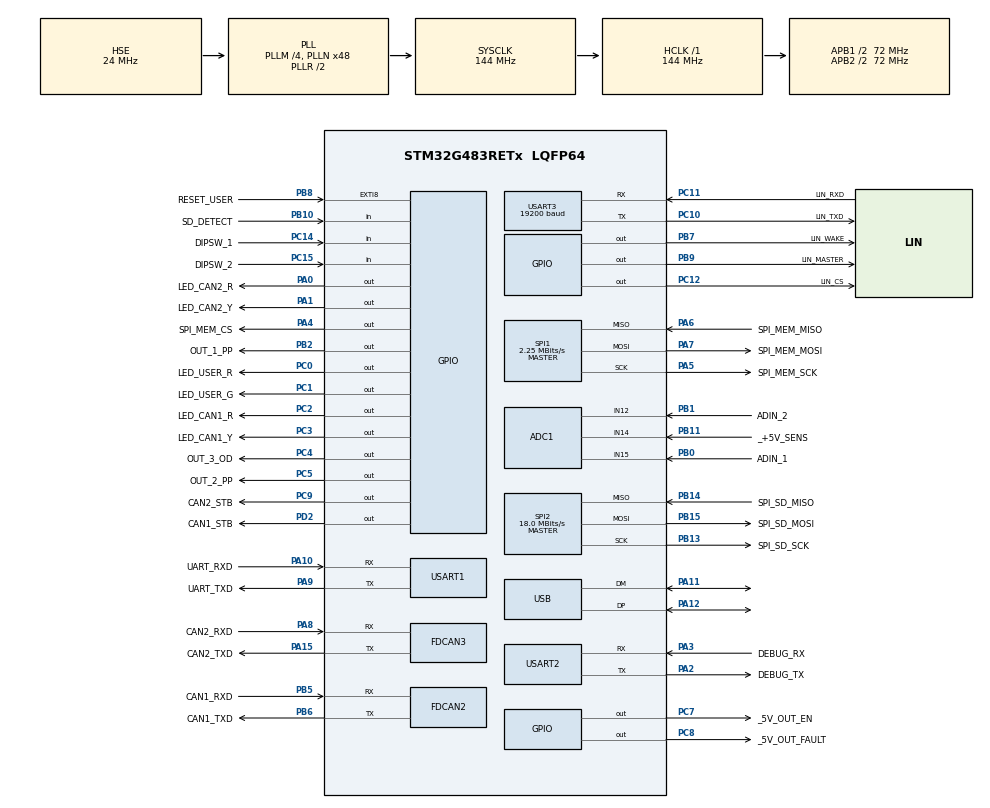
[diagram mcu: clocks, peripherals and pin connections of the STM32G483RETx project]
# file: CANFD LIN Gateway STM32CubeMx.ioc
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ADC1.Channel-1\#ChannelRegularConversion=ADC_CHANNEL_14
ADC1.NbrOfConversionFlag=1
ADC1.OffsetNumber-1\#ChannelRegularConversion=ADC_OFFSET_NONE
ADC1.Rank-1\#ChannelRegularConversion=1
ADC1.SamplingTime-1\#ChannelRegularConversion=ADC_SAMPLETIME_2CYCLES_5
ADC1.master=1
FDCAN2.DataPrescaler=2
FDCAN2.DataSyncJumpWidth=3
FDCAN2.DataTimeSeg1=14
FDCAN2.DataTimeSeg2=3
FDCAN2.FrameFormat=FDCAN_FRAME_FD_BRS
FDCAN2.NominalPrescaler=8
FDCAN2.NominalSyncJumpWidth=3
FDCAN2.NominalTimeSeg1=14
FDCAN2.NominalTimeSeg2=3
FDCAN3.DataPrescaler=2
FDCAN3.DataSyncJumpWidth=3
FDCAN3.DataTimeSeg1=14
FDCAN3.DataTimeSeg2=3
FDCAN3.FrameFormat=FDCAN_FRAME_FD_BRS
FDCAN3.NominalPrescaler=8
FDCAN3.NominalSyncJumpWidth=3
FDCAN3.NominalTimeSeg1=14
FDCAN3.NominalTimeSeg2=3
Mcu.Family=STM32G4
Mcu.Name=STM32G483RETx
Mcu.Package=LQFP64
NVIC.ADC1_2_IRQn=true\:0\:0\:false\:false\:true\:true\:true\:true
NVIC.EXTI9_5_IRQn=true\:0\:0\:false\:false\:true\:true\:true\:true
NVIC.FDCAN2_IT0_IRQn=true\:0\:0\:false\:false\:true\:true\:true\:true
NVIC.FDCAN2_IT1_IRQn=true\:0\:0\:false\:false\:true\:true\:true\:true
NVIC.FDCAN3_IT0_IRQn=true\:0\:0\:false\:false\:true\:true\:true\:true
NVIC.FDCAN3_IT1_IRQn=true\:0\:0\:false\:false\:true\:true\:true\:true
NVIC.PriorityGroup=NVIC_PRIORITYGROUP_4
NVIC.SPI1_IRQn=true\:0\:0\:false\:false\:true\:true\:true\:true
NVIC.TIM6_DAC_IRQn=true\:0\:0\:false\:false\:true\:true\:true\:true
NVIC.TIM7_DAC_IRQn=true\:0\:0\:false\:false\:true\:true\:true\:true
NVIC.USART3_IRQn=true\:0\:0\:false\:false\:true\:true\:true\:true
NVIC.USB_LP_IRQn=true\:0\:0\:false\:false\:true\:false\:true\:true
PA0.GPIO_Label=LED_CAN2_R
PA0.Signal=GPIO_Output
PA1.GPIO_Label=LED_CAN2_Y
PA1.Signal=GPIO_Output
PA10.GPIO_Label=UART_RXD
PA10.GPIO_Speed=GPIO_SPEED_FREQ_MEDIUM
PA10.Mode=Asynchronous
PA10.Signal=USART1_RX
PA11.Mode=Device
PA11.Signal=USB_DM
PA12.Mode=Device
PA12.Signal=USB_DP
PA13.GPIO_Label=SWDIO
PA13.Mode=Trace_Asynchronous_SW
PA13.Signal=SYS_JTMS-SWDIO
PA14.GPIO_Label=SWCLK
PA14.Mode=Trace_Asynchronous_SW
PA14.Signal=SYS_JTCK-SWCLK
PA15.GPIO_Label=CAN2_TXD
PA15.GPIO_Speed=GPIO_SPEED_FREQ_VERY_HIGH
PA15.Mode=FDCAN_Activate
PA15.Signal=FDCAN3_TX
PA2.GPIO_Label=DEBUG_TX
PA2.GPIO_Speed=GPIO_SPEED_FREQ_MEDIUM
PA2.Mode=Asynchronous
PA2.Signal=USART2_TX
PA3.GPIO_Label=DEBUG_RX
PA3.GPIO_Speed=GPIO_SPEED_FREQ_MEDIUM
PA3.Mode=Asynchronous
PA3.Signal=USART2_RX
PA4.GPIO_Label=SPI_MEM_CS
PA4.GPIO_Speed=GPIO_SPEED_FREQ_VERY_HIGH
PA4.PinState=GPIO_PIN_SET
PA4.Signal=GPIO_Output
PA5.GPIO_Label=SPI_MEM_SCK
PA5.GPIO_Speed=GPIO_SPEED_FREQ_MEDIUM
PA5.Mode=Full_Duplex_Master
PA5.Signal=SPI1_SCK
PA6.GPIO_Label=SPI_MEM_MISO
PA6.GPIO_Speed=GPIO_SPEED_FREQ_MEDIUM
PA6.Mode=Full_Duplex_Master
PA6.Signal=SPI1_MISO
PA7.GPIO_Label=SPI_MEM_MOSI
PA7.GPIO_Speed=GPIO_SPEED_FREQ_MEDIUM
PA7.Mode=Full_Duplex_Master
PA7.Signal=SPI1_MOSI
PA8.GPIO_Label=CAN2_RXD
PA8.GPIO_Speed=GPIO_SPEED_FREQ_VERY_HIGH
PA8.Mode=FDCAN_Activate
PA8.Signal=FDCAN3_RX
PA9.GPIO_Label=UART_TXD
PA9.GPIO_Speed=GPIO_SPEED_FREQ_MEDIUM
PA9.Mode=Asynchronous
PA9.Signal=USART1_TX
PB0.GPIO_Label=ADIN_1
PB0.Mode=IN15-Single-Ended
PB0.Signal=ADC1_IN15
PB1.GPIO_Label=ADIN_2
PB1.Mode=IN12-Single-Ended
PB1.Signal=ADC1_IN12
PB10.GPIO_Label=SD_DETECT
PB10.Signal=GPIO_Input
PB11.GPIO_Label=_+5V_SENS
PB11.Mode=IN14-Single-Ended
PB11.Signal=ADC1_IN14
PB12.GPIO_Label=SPI_SD_CS
PB12.GPIO_Speed=GPIO_SPEED_FREQ_HIGH
PB12.Signal=SPI2_NSS
PB13.GPIO_Label=SPI_SD_SCK
PB13.GPIO_Speed=GPIO_SPEED_FREQ_HIGH
PB13.Mode=Full_Duplex_Master
PB13.Signal=SPI2_SCK
PB14.GPIO_Label=SPI_SD_MISO
PB14.GPIO_Speed=GPIO_SPEED_FREQ_HIGH
PB14.Mode=Full_Duplex_Master
PB14.Signal=SPI2_MISO
PB15.GPIO_Label=SPI_SD_MOSI
PB15.GPIO_Speed=GPIO_SPEED_FREQ_HIGH
PB15.Mode=Full_Duplex_Master
PB15.Signal=SPI2_MOSI
PB2.GPIO_Label=OUT_1_PP
PB2.Signal=GPIO_Output
PB3.GPIO_Label=SWO
PB3.Mode=Trace_Asynchronous_SW
PB3.Signal=SYS_JTDO-SWO
PB5.GPIO_Label=CAN1_RXD
PB5.GPIO_Speed=GPIO_SPEED_FREQ_VERY_HIGH
PB5.Mode=FDCAN_Activate
PB5.Signal=FDCAN2_RX
PB6.GPIO_Label=CAN1_TXD
PB6.GPIO_Speed=GPIO_SPEED_FREQ_VERY_HIGH
PB6.Mode=FDCAN_Activate
PB6.Signal=FDCAN2_TX
PB7.GPIO_Label=LIN_WAKE
PB7.Signal=GPIO_Output
PB8-BOOT0.GPIO_Label=RESET_USER
PB8-BOOT0.Signal=GPXTI8
PB9.GPIO_Label=LIN_MASTER
PB9.GPIO_PuPd=GPIO_PULLUP
PB9.Signal=GPIO_Output
PC0.GPIO_Label=LED_USER_R
PC0.Signal=GPIO_Output
PC1.GPIO_Label=LED_USER_G
PC1.Signal=GPIO_Output
PC10.GPIO_Label=LIN_TXD
PC10.GPIO_Speed=GPIO_SPEED_FREQ_MEDIUM
PC10.Mode=LIN
PC10.Signal=USART3_TX
PC11.GPIO_Label=LIN_RXD
PC11.GPIO_Speed=GPIO_SPEED_FREQ_MEDIUM
PC11.Mode=LIN
PC11.Signal=USART3_RX
PC12.GPIO_Label=LIN_CS
PC12.Signal=GPIO_Output
PC14-OSC32_IN.GPIO_Label=DIPSW_1
PC14-OSC32_IN.Signal=GPIO_Input
PC15-OSC32_OUT.GPIO_Label=DIPSW_2
PC15-OSC32_OUT.Signal=GPIO_Input
PC2.GPIO_Label=LED_CAN1_R
PC2.Signal=GPIO_Output
PC3.GPIO_Label=LED_CAN1_Y
PC3.Signal=GPIO_Output
PC4.GPIO_Label=OUT_3_OD
PC4.GPIO_ModeDefaultOutputPP=GPIO_MODE_OUTPUT_OD
PC4.Signal=GPIO_Output
PC5.GPIO_Label=OUT_2_PP
PC5.Signal=GPIO_Output
PC7.GPIO_Label=_5V_OUT_EN
PC7.Signal=GPIO_Output
PC8.GPIO_Label=_5V_OUT_FAULT
PC8.Signal=GPIO_Output
PC9.GPIO_Label=CAN2_STB
PC9.PinState=GPIO_PIN_SET
PC9.Signal=GPIO_Output
PD2.GPIO_Label=CAN1_STB
PD2.PinState=GPIO_PIN_SET
PD2.Signal=GPIO_Output
PF0-OSC_IN.Mode=HSE-External-Oscillator
PF0-OSC_IN.Signal=RCC_OSC_IN
PF1-OSC_OUT.Mode=HSE-External-Oscillator
PF1-OSC_OUT.Signal=RCC_OSC_OUT
ProjectManager.HeapSize=0x200
ProjectManager.StackSize=0x400
ProjectManager.TargetToolchain=STM32CubeIDE
RCC.ADC12Freq_Value=144000000
RCC.ADC345Freq_Value=144000000
RCC.AHBFreq_Value=144000000
RCC.APB1CLKDivider=RCC_HCLK_DIV2
RCC.APB1Freq_Value=72000000
RCC.APB1TimFreq_Value=144000000
RCC.APB2CLKDivider=RCC_HCLK_DIV2
RCC.APB2Freq_Value=72000000
RCC.APB2TimFreq_Value=144000000
RCC.CortexFreq_Value=144000000
RCC.EXTERNAL_CLOCK_VALUE=12288000
RCC.HCLKFreq_Value=144000000
RCC.HSE_VALUE=24000000
RCC.HSI48_VALUE=48000000
RCC.HSI_VALUE=16000000
RCC.LSE_VALUE=32768
RCC.PLLM=RCC_PLLM_DIV4
RCC.PLLN=48
RCC.PLLQ=RCC_PLLQ_DIV6
RCC.PLLSourceVirtual=RCC_PLLSOURCE_HSE
RCC.SYSCLKFreq_VALUE=144000000
RCC.SYSCLKSource=RCC_SYSCLKSOURCE_PLLCLK
RCC.USBFreq_Value=48000000
RCC.VCOOutputFreq_Value=288000000
SPI1.BaudRatePrescaler=SPI_BAUDRATEPRESCALER_32
SPI1.CalculateBaudRate=2.25 MBits/s
SPI1.DataSize=SPI_DATASIZE_8BIT
SPI1.Direction=SPI_DIRECTION_2LINES
SPI1.Mode=SPI_MODE_MASTER
SPI1.NSSPMode=SPI_NSS_PULSE_DISABLE
SPI1.VirtualType=VM_MASTER
SPI2.BaudRatePrescaler=SPI_BAUDRATEPRESCALER_4
SPI2.CLKPhase=SPI_PHASE_2EDGE
SPI2.CLKPolarity=SPI_POLARITY_HIGH
SPI2.CalculateBaudRate=18.0 MBits/s
SPI2.DataSize=SPI_DATASIZE_8BIT
SPI2.Direction=SPI_DIRECTION_2LINES
SPI2.Mode=SPI_MODE_MASTER
SPI2.VirtualNSS=VM_NSSHARD
SPI2.VirtualType=VM_MASTER
TIM6.PeriodNoDither=999
TIM6.Prescaler=143
TIM6.TIM_MasterOutputTrigger=TIM_TRGO_ENABLE
USART1.VirtualMode-Asynchronous=VM_ASYNC
USART2.VirtualMode-Asynchronous=VM_ASYNC
USART3.BaudRate=19200
USART3.DMADisableonRxErrorParam=ADVFEATURE_DMA_DISABLEONRXERROR
USART3.OverrunDisableParam=ADVFEATURE_OVERRUN_DISABLE
USART3.VirtualMode-LIN=VM_LIN
USB_DEVICE.CLASS_NAME_FS=CDC
USB_DEVICE.VirtualMode=Cdc
USB_DEVICE.VirtualModeFS=Cdc_FS
VP_FATFS_VS_Generic.Mode=User_defined
VP_SYS_VS_DBSignals.Mode=DisableDeadBatterySignals
VP_TIM6_VS_ClockSourceINT.Mode=Enable_Timer
VP_TIM7_VS_ClockSourceINT.Mode=Enable_Timer
VP_USB_DEVICE_VS_USB_DEVICE_CDC_FS.Mode=CDC_FS
board=custom

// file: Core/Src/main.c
/* USER CODE BEGIN Header */
/**
  ******************************************************************************
  * @file           : main.c
  * @brief          : CANFD LIN Gateway Example
  ******************************************************************************
  * @attention
  *
  * Product: CANFD LIN Gateway
  * Product Number: CANFD-LIN-GW
  *
  * Company: MACH SYSTEMS s.r.o.
  * Company Web: www.machsystems.cz
  *
  * Product Description:
  * - Two high-speed CAN channels with CAN FD support
  * - LIN channel
  * - RS-232 port
  * - MicroSD card slot
  * - 4 digital outputs
  * - 2 analogue/digital inputs
  * - 4 status LEDs
  * - On-board 16 Kbit EEPROM
  * - Externally or USB-powered
  * - Table-top use or DIN-rail mount
  *
  * MCU: STM32G483RE
  * IDE: STM32CubeIDE v1.9.0
  * HAL: STM32CubeG4 Firmware Package V1.5.0
  *
  *
  * Connector pinout of the CANFD LIN Gateway device:
  * =========================
  * D-SUB9 Male:  Pin 1    - Digital Output 1 (HSD)
  *               Pin 2    - CAN1 Low
  *               Pin 3, 5 - GND
  *               Pin 4    - LIN
  *               Pin 6    - Analog input 1 (0 - 5 V)
  *               Pin 7    - CAN1 High
  *               Pin 8    - Digital Output 2 (5 V push-pull)
  *               Pin 9    - Vin / Vbat (7 - 30 V DC)
  *
  * D-SUB9 Female: Pin 1    - Digital Output 3 (5 V push-pull)
  *                Pin 2    - CAN2 Low
  *                Pin 3, 5 - GND
  *                Pin 4    - RS232 RxD (in)
  *                Pin 6    - Digital Output 4 (LSD-Open drain)
  *                Pin 7    - CAN2 High
  *                Pin 8    - RS232 TxD (out)
  *                Pin 9    - Analog Input 2 (0 - 5 V)
  *
  *
  * Description of the example:
  * ===========================
  * SD Card:
  *   If you want to test SD card access, uncomment the line with
  * #define TEST_SDCARD. If you do this, program will try to create
  * new file on the card and write some text to it. Then, it will try
  * to read back the written data and check if it is correct.
  *
  * CAN-FD:
  *   Default setting for CAN is 500k, 2M, SP = 80 %.
  *   After pressing the button BTN 1, CAN message is sent on both
  * CAN1 and CAN2. First data byte is number of sent message, second
  * and third have state of dip switches as LSB. Fourth+fifth and sixth+seventh
  * data bytes are voltages (in millivolts) measured on AI1 and AI2 respectively.
  * Furthemore, data received on CAN are sent to the other CAN channel.
  *   If you want CAN FD data baud rate 8 Mbps, you must change FDCAN clock to
  * 144 MHz and change time segments accordingly.
  * Ratio of data bit rate to nominal bit rate should not exceed 8, or
  * sometimes error frames can be sent.
  *
  * LIN:
  *   In LIN Scheduler, there are 2 frames:
  * ID 0x01 - Master Response
  *         - 3 data bytes
  *         - LSB of bytes 0, 1, 2 contain respectively state of
  *           button, dip 1 and dip 2
  *
  * ID 0x02 - Master Request
  *         - 2 data bytes
  *         - LSB of byte 0: toggle LED1, LSB of byte 1: toggle LED2
  *           - 0x01 turn on
  *           - 0x00 turn off
  *
  * Bootloader:
  *   CAN frame with extended frame ID 0x1fffffff and first four data bytes 0x00
  * 0x01 0x02 0x03 (on CAN1 or CAN2) will reset the device to bootloader. If you
  * then connect USB cable or one of UARTs, you can upload new firmware to the
  * device. See manual for more info.
  *
  * Virtual COM Port:
  *   You can connect to the COM port via USB cable. When CAN frame is received,
  * some info about it is sent to the COM port. There is ID, on which channel it
  * was received, number of data bytes and the data. Also, data received on the
  * COM port are sent to debug UART. For its settings, see below.
  *
  * EEPROM:
  *   Program tries to write the whole EEPROM (2 KiB) with data and then read it
  * back. It checks if the read data is correct. Then, the whole EEPROM is erased,
  * again read back and checked that it contains 0xFF. Uncomment EEPROM_TESTING
  * for activating this example.
  *
  * RS-232:
  *   Received data are sent back. Uncomment TEST_UART for this example.
  * Settings are: 115200, 8 B, 1 stop bit, no parity.
  *
  * Debug UART:
  *   Data received on Virtual COM port are sent to debug UART. Settings are:
  * 115200, 8 B, 1 stop bit, no parity.
  *
  * Digital Inputs:
  *   There are three digital inputs, one button and two dip switches. For reading
  * their value, see CAN section above.
  *
  * Analog Inputs:
  *   There are two analog inputs that can thanks measure 0 to 5 V. For reading their
  * value, see CAN section above.
  *
  * Outputs:
  *   There are four outputs, one HSD (DO1), two 5 V push-pulls (DO2 and DO3) and one open
  * drain (DO4). You can use them freely but please make sure you do NOT your loads do not draw
  * too high current from 5 V power branch especially.
  * DO NOT use DO1, DO2, DO3 when the device is only powered from USB!!!
  * There are macros defined in main.h (in section Digital outputs)
  * for controlling them, but they are not used in this example.
  *
  * Also, there are three LEDs, macros for using them are in main.h in sections
  * User LED controls and CAN LED control.
  *
  *
  *
  * Mapping of peripherals to their names:
  * ======================================
  * CAN1: FDCAN2 peripheral
  * CAN2: FDCAN3 peripheral
  *
  * ADIN1: IN15 of ADC1
  * ADIN2: IN12 of ADC1
  *
  * RS232:      UART1
  * DEBUG UART: UART2
  * LIN:        UART3
  *
  * <h2><center>&copy; Copyright (c) 2020 STMicroelectronics.
  * All rights reserved.</center></h2>
  *
  * This software component is licensed by ST under BSD 3-Clause license,
  * the "License"; You may not use this file except in compliance with the
  * License. You may obtain a copy of the License at:
  *                        opensource.org/licenses/BSD-3-Clause
  *
  *
  *
  ******************************************************************************
  */
/* USER CODE END Header */
#include "main.h"
#include "app_fatfs.h"
#include "usb_device.h"

/* USER CODE BEGIN Includes */
#include "usbd_cdc_if.h"
#include "commonUtils.h"
#include "spiEeprom.h"

#include "lin.h"
/* USER CODE END Includes */

/* USER CODE BEGIN PD */
#define CAN_MAX_DATALEN       64

//#define EEPROM_TESTING
#define LIN_EXAMPLE
//#define TEST_SDCARD
//#define TEST_UART     /* Blocking RS-232 example */

#define LIN_TICKS_PER_SECOND  1000
#define LIN_TICKS_WAIT        10
#define USB_BUFFER_SIZE       512

#define ADC_CONVERSION        (3.3 / 4095)    /* 3.3 V reference 12-bit ADC */
#define DIVIDER               (50.0 / 30)     /* R1 = 20 000 ohm, R2 = 50 000 ohm  */

#define LIN_TX_DATA_SIZE      3
/* USER CODE END PD */

 ADC_HandleTypeDef hadc1;

FDCAN_HandleTypeDef hfdcan2;
FDCAN_HandleTypeDef hfdcan3;

SPI_HandleTypeDef hspi2;

TIM_HandleTypeDef htim6;

UART_HandleTypeDef huart1;
UART_HandleTypeDef huart2;

/* USER CODE BEGIN PV */
//uint8_t ubKeyNumber = 0x0;
FDCAN_RxHeaderTypeDef RxHeader;
uint8_t RxData[CAN_MAX_DATALEN];
FDCAN_TxHeaderTypeDef TxHeader;
uint8_t TxData[CAN_MAX_DATALEN];
uint8_t canFramesSent = 0;

/* FATFs process status */
int32_t ProcessStatus = 0;

uint16_t gTimerCnt = 0;
uint16_t gPeriodCnt = 0;

/* String to send via uart */
uint8_t aTextInfoStart[] = "\r\nUART Debug Example: Received data will be sent back:\r\n";

/* From usb_device.c */
extern USBD_HandleTypeDef hUsbDeviceFS;

/* ADC buffer and state */
uint8_t adcState = 0;
uint32_t adcValues[2];

/* Request to go to bootloader */
uint8_t BootloaderRequest = 0;

/* LIN variables */
uint8_t linTxData[LIN_TX_DATA_SIZE] = {0, 0, 0};
LIN_Frame* pLinRxFrame;
/* USER CODE END PV */

void SystemClock_Config(void);
static void MX_GPIO_Init(void);
static void MX_FDCAN2_Init(void);
static void MX_SPI1_Init(void);
static void MX_USART2_UART_Init(void);
static void MX_USART3_UART_Init(void);
static void MX_ADC1_Init(void);
static void MX_FDCAN3_Init(void);
static void MX_SPI2_Init(void);
static void MX_USART1_UART_Init(void);
static void MX_TIM6_Init(void);
static void MX_TIM7_Init(void);
/* USER CODE BEGIN PFP */
void jumpToBootloader(void);
void initCanTxData(void);
void initAdc(void);
/* USER CODE END PFP */

int main(void)
{

  /* MCU Configuration--------------------------------------------------------*/

  /* Reset of all peripherals, Initializes the Flash interface and the Systick. */
  HAL_Init();

  /* Configure the system clock */
  SystemClock_Config();

  /* Initialize all configured peripherals */
  MX_GPIO_Init();
  MX_FDCAN2_Init();
  MX_SPI1_Init();
  MX_USART2_UART_Init();
  MX_USART3_UART_Init();
  MX_ADC1_Init();
  MX_FDCAN3_Init();
  MX_SPI2_Init();
  MX_USART1_UART_Init();
  if (MX_FATFS_Init() != APP_OK) {
    Error_Handler();
  }
  MX_TIM6_Init();
  MX_USB_Device_Init();
  MX_TIM7_Init();
  /* USER CODE BEGIN 2 */
  initCanTxData();

  PIN_CAN1_STDBY_ON();
  PIN_CAN2_STDBY_ON();
  /* Initialize the micro SD Card */
  BSP_SD_Init(0);
  /* Configure the FDCAN peripherals */
  FdcanConfig(&hfdcan2);
  FdcanConfig(&hfdcan3);
  HAL_TIM_Base_Start_IT(&htim6);
  initAdc();
  /* USER CODE END 2 */

  /* Infinite loop */
  /* USER CODE BEGIN WHILE */
#ifdef LIN_EXAMPLE
  /* Wake up the LIN transceiver */
  HAL_GPIO_WritePin(LIN_CS_GPIO_Port, LIN_CS_Pin, 1);
  HAL_GPIO_WritePin(LIN_WAKE_GPIO_Port, LIN_WAKE_Pin, 0);

  InitLin();

  /* Try to find the Master Request frame with ID 0x2 (for toggling the LEDs) */
  pLinRxFrame = FindRxFrame(2);
#endif /* LIN_EXAMPLE */

  /*
   * Configuration of SPI1 peripheral for EEPROM access
   */
  /* enable error interrupt */
  LL_SPI_EnableIT_ERR(SPI1);

  /* RXNE event after 8 bits */
  LL_SPI_SetRxFIFOThreshold(SPI1, LL_SPI_RX_FIFO_TH_QUARTER);

  /* enable RXNE interrupt */
  LL_SPI_EnableIT_RXNE(SPI1);

  LL_SPI_Enable(SPI1);

#ifdef EEPROM_TESTING
  TestEepromAccess();
#endif /* EEPROM_TESTING */

  FdcanReconfigureBaudrate(&hfdcan2, CAN_NBT_500K, CAN_DBT_2M);

#ifdef TEST_UART
  /* Do not send ending '\0' */
  HAL_UART_Transmit(&huart1, aTextInfoStart, sizeof(aTextInfoStart) - 1, HAL_MAX_DELAY);
#endif /* TEST_UART */

  while (1)
  {
    if (BootloaderRequest)
      jumpToBootloader();

#ifdef TEST_UART
    /* Uart testing - send back what is received, byte after byte */
    uint8_t receive;
    HAL_UART_Receive(&huart1, &receive, 1, HAL_MAX_DELAY);
    HAL_UART_Transmit(&huart1, &receive, 1, HAL_MAX_DELAY);
#endif /* TEST_UART */

#ifdef TEST_SDCARD
    /* FatFs middleware main background task */
    ProcessStatus = MX_FATFS_Process();

    if (ProcessStatus == APP_SD_UNPLUGGED)
    {
      LED_G_OFF();
      LED_R_TOGGLE();
    }
    else if (ProcessStatus == APP_ERROR)
    {
      Error_Handler();
    }
    else
    {
      LED_R_OFF();
      LED_G_ON();
    }
    HAL_Delay(1000);
#endif /* TEST_SDCARD */

#ifdef LIN_EXAMPLE
    /* Toggle LEDs according to data bytes */
    /* (if the frame was found) */
    if (pLinRxFrame != NULL)
    {
      /* LED 1 */
      if (pLinRxFrame->Data[0] & 0x1)
        LED_G_ON();
      else
        LED_G_OFF();

      /* LED 2 */
      if (pLinRxFrame->Data[1] & 0x1)
        LED_CAN2_Y_ON();
      else
        LED_CAN2_Y_OFF();
    }

    /* Btn active in one (changed from earlier HW) */
    if (RESET_USER_READ())
      linTxData[0] |= 1;
    else
      linTxData[0] &= 0;

    /* Dip switches active in zero */
    if (!DIPSW1_READ())
      linTxData[1] |= 1;
    else
      linTxData[1] &= 0;

    if (!DIPSW2_READ())
      linTxData[2] |= 1;
    else
      linTxData[2] &= 0;

    UpdateTxFrameData(1, linTxData, LIN_TX_DATA_SIZE);
#endif /* LIN_EXAMPLE */

    /* USER CODE END WHILE */

  }
}

void SystemClock_Config(void)
{
  RCC_OscInitTypeDef RCC_OscInitStruct = {0};
  RCC_ClkInitTypeDef RCC_ClkInitStruct = {0};

  /** Configure the main internal regulator output voltage
  */
  HAL_PWREx_ControlVoltageScaling(PWR_REGULATOR_VOLTAGE_SCALE1);

  /** Initializes the RCC Oscillators according to the specified parameters
  * in the RCC_OscInitTypeDef structure.
  */
  RCC_OscInitStruct.OscillatorType = RCC_OSCILLATORTYPE_HSE;
  RCC_OscInitStruct.HSEState = RCC_HSE_ON;
  RCC_OscInitStruct.PLL.PLLState = RCC_PLL_ON;
  RCC_OscInitStruct.PLL.PLLSource = RCC_PLLSOURCE_HSE;
  RCC_OscInitStruct.PLL.PLLM = RCC_PLLM_DIV4;
  RCC_OscInitStruct.PLL.PLLN = 48;
  RCC_OscInitStruct.PLL.PLLP = RCC_PLLP_DIV2;
  RCC_OscInitStruct.PLL.PLLQ = RCC_PLLQ_DIV6;
  RCC_OscInitStruct.PLL.PLLR = RCC_PLLR_DIV2;
  if (HAL_RCC_OscConfig(&RCC_OscInitStruct) != HAL_OK)
  {
    Error_Handler();
  }

  /** Initializes the CPU, AHB and APB buses clocks
  */
  RCC_ClkInitStruct.ClockType = RCC_CLOCKTYPE_HCLK|RCC_CLOCKTYPE_SYSCLK
                              |RCC_CLOCKTYPE_PCLK1|RCC_CLOCKTYPE_PCLK2;
  RCC_ClkInitStruct.SYSCLKSource = RCC_SYSCLKSOURCE_PLLCLK;
  RCC_ClkInitStruct.AHBCLKDivider = RCC_SYSCLK_DIV1;
  RCC_ClkInitStruct.APB1CLKDivider = RCC_HCLK_DIV2;
  RCC_ClkInitStruct.APB2CLKDivider = RCC_HCLK_DIV2;

  if (HAL_RCC_ClockConfig(&RCC_ClkInitStruct, FLASH_LATENCY_4) != HAL_OK)
  {
    Error_Handler();
  }
}

static void MX_ADC1_Init(void)
{

  ADC_MultiModeTypeDef multimode = {0};
  ADC_ChannelConfTypeDef sConfig = {0};

  /** Common config
  */
  hadc1.Instance = ADC1;
  hadc1.Init.ClockPrescaler = ADC_CLOCK_SYNC_PCLK_DIV4;
  hadc1.Init.Resolution = ADC_RESOLUTION_12B;
  hadc1.Init.DataAlign = ADC_DATAALIGN_RIGHT;
  hadc1.Init.GainCompensation = 0;
  hadc1.Init.ScanConvMode = ADC_SCAN_DISABLE;
  hadc1.Init.EOCSelection = ADC_EOC_SINGLE_CONV;
  hadc1.Init.LowPowerAutoWait = DISABLE;
  hadc1.Init.ContinuousConvMode = DISABLE;
  hadc1.Init.NbrOfConversion = 1;
  hadc1.Init.DiscontinuousConvMode = DISABLE;
  hadc1.Init.ExternalTrigConv = ADC_SOFTWARE_START;
  hadc1.Init.ExternalTrigConvEdge = ADC_EXTERNALTRIGCONVEDGE_NONE;
  hadc1.Init.DMAContinuousRequests = DISABLE;
  hadc1.Init.Overrun = ADC_OVR_DATA_PRESERVED;
  hadc1.Init.OversamplingMode = DISABLE;
  if (HAL_ADC_Init(&hadc1) != HAL_OK)
  {
    Error_Handler();
  }

  /** Configure the ADC multi-mode
  */
  multimode.Mode = ADC_MODE_INDEPENDENT;
  if (HAL_ADCEx_MultiModeConfigChannel(&hadc1, &multimode) != HAL_OK)
  {
    Error_Handler();
  }

  /** Configure Regular Channel
  */
  sConfig.Channel = ADC_CHANNEL_14;
  sConfig.Rank = ADC_REGULAR_RANK_1;
  sConfig.SamplingTime = ADC_SAMPLETIME_2CYCLES_5;
  sConfig.SingleDiff = ADC_SINGLE_ENDED;
  sConfig.OffsetNumber = ADC_OFFSET_NONE;
  sConfig.Offset = 0;
  if (HAL_ADC_ConfigChannel(&hadc1, &sConfig) != HAL_OK)
  {
    Error_Handler();
  }

}

static void MX_FDCAN2_Init(void)
{

  hfdcan2.Instance = FDCAN2;
  hfdcan2.Init.ClockDivider = FDCAN_CLOCK_DIV1;
  hfdcan2.Init.FrameFormat = FDCAN_FRAME_FD_BRS;
  hfdcan2.Init.Mode = FDCAN_MODE_NORMAL;
  hfdcan2.Init.AutoRetransmission = DISABLE;
  hfdcan2.Init.TransmitPause = DISABLE;
  hfdcan2.Init.ProtocolException = DISABLE;
  hfdcan2.Init.NominalPrescaler = 8;
  hfdcan2.Init.NominalSyncJumpWidth = 3;
  hfdcan2.Init.NominalTimeSeg1 = 14;
  hfdcan2.Init.NominalTimeSeg2 = 3;
  hfdcan2.Init.DataPrescaler = 2;
  hfdcan2.Init.DataSyncJumpWidth = 3;
  hfdcan2.Init.DataTimeSeg1 = 14;
  hfdcan2.Init.DataTimeSeg2 = 3;
  hfdcan2.Init.StdFiltersNbr = 0;
  hfdcan2.Init.ExtFiltersNbr = 0;
  hfdcan2.Init.TxFifoQueueMode = FDCAN_TX_FIFO_OPERATION;
  if (HAL_FDCAN_Init(&hfdcan2) != HAL_OK)
  {
    Error_Handler();
  }

}

static void MX_FDCAN3_Init(void)
{

  hfdcan3.Instance = FDCAN3;
  hfdcan3.Init.ClockDivider = FDCAN_CLOCK_DIV1;
  hfdcan3.Init.FrameFormat = FDCAN_FRAME_FD_BRS;
  hfdcan3.Init.Mode = FDCAN_MODE_NORMAL;
  hfdcan3.Init.AutoRetransmission = DISABLE;
  hfdcan3.Init.TransmitPause = DISABLE;
  hfdcan3.Init.ProtocolException = DISABLE;
  hfdcan3.Init.NominalPrescaler = 8;
  hfdcan3.Init.NominalSyncJumpWidth = 3;
  hfdcan3.Init.NominalTimeSeg1 = 14;
  hfdcan3.Init.NominalTimeSeg2 = 3;
  hfdcan3.Init.DataPrescaler = 2;
  hfdcan3.Init.DataSyncJumpWidth = 3;
  hfdcan3.Init.DataTimeSeg1 = 14;
  hfdcan3.Init.DataTimeSeg2 = 3;
  hfdcan3.Init.StdFiltersNbr = 0;
  hfdcan3.Init.ExtFiltersNbr = 0;
  hfdcan3.Init.TxFifoQueueMode = FDCAN_TX_FIFO_OPERATION;
  if (HAL_FDCAN_Init(&hfdcan3) != HAL_OK)
  {
    Error_Handler();
  }

}

static void MX_SPI1_Init(void)
{

  LL_SPI_InitTypeDef SPI_InitStruct = {0};

  LL_GPIO_InitTypeDef GPIO_InitStruct = {0};

  /* Peripheral clock enable */
  LL_APB2_GRP1_EnableClock(LL_APB2_GRP1_PERIPH_SPI1);

  LL_AHB2_GRP1_EnableClock(LL_AHB2_GRP1_PERIPH_GPIOA);
  /**SPI1 GPIO Configuration
  PA5   ------> SPI1_SCK
  PA6   ------> SPI1_MISO
  PA7   ------> SPI1_MOSI
  */
  GPIO_InitStruct.Pin = LL_GPIO_PIN_5;
  GPIO_InitStruct.Mode = LL_GPIO_MODE_ALTERNATE;
  GPIO_InitStruct.Speed = LL_GPIO_SPEED_FREQ_MEDIUM;
  GPIO_InitStruct.OutputType = LL_GPIO_OUTPUT_PUSHPULL;
  GPIO_InitStruct.Pull = LL_GPIO_PULL_NO;
  GPIO_InitStruct.Alternate = LL_GPIO_AF_5;
  LL_GPIO_Init(GPIOA, &GPIO_InitStruct);

  GPIO_InitStruct.Pin = LL_GPIO_PIN_6;
  GPIO_InitStruct.Mode = LL_GPIO_MODE_ALTERNATE;
  GPIO_InitStruct.Speed = LL_GPIO_SPEED_FREQ_MEDIUM;
  GPIO_InitStruct.OutputType = LL_GPIO_OUTPUT_PUSHPULL;
  GPIO_InitStruct.Pull = LL_GPIO_PULL_NO;
  GPIO_InitStruct.Alternate = LL_GPIO_AF_5;
  LL_GPIO_Init(GPIOA, &GPIO_InitStruct);

  GPIO_InitStruct.Pin = LL_GPIO_PIN_7;
  GPIO_InitStruct.Mode = LL_GPIO_MODE_ALTERNATE;
  GPIO_InitStruct.Speed = LL_GPIO_SPEED_FREQ_MEDIUM;
  GPIO_InitStruct.OutputType = LL_GPIO_OUTPUT_PUSHPULL;
  GPIO_InitStruct.Pull = LL_GPIO_PULL_NO;
  GPIO_InitStruct.Alternate = LL_GPIO_AF_5;
  LL_GPIO_Init(GPIOA, &GPIO_InitStruct);

  /* SPI1 interrupt Init */
  NVIC_SetPriority(SPI1_IRQn, NVIC_EncodePriority(NVIC_GetPriorityGrouping(),0, 0));
  NVIC_EnableIRQ(SPI1_IRQn);

  /* SPI1 parameter configuration*/
  SPI_InitStruct.TransferDirection = LL_SPI_FULL_DUPLEX;
  SPI_InitStruct.Mode = LL_SPI_MODE_MASTER;
  SPI_InitStruct.DataWidth = LL_SPI_DATAWIDTH_8BIT;
  SPI_InitStruct.ClockPolarity = LL_SPI_POLARITY_LOW;
  SPI_InitStruct.ClockPhase = LL_SPI_PHASE_1EDGE;
  SPI_InitStruct.NSS = LL_SPI_NSS_SOFT;
  SPI_InitStruct.BaudRate = LL_SPI_BAUDRATEPRESCALER_DIV32;
  SPI_InitStruct.BitOrder = LL_SPI_MSB_FIRST;
  SPI_InitStruct.CRCCalculation = LL_SPI_CRCCALCULATION_DISABLE;
  SPI_InitStruct.CRCPoly = 7;
  LL_SPI_Init(SPI1, &SPI_InitStruct);
  LL_SPI_SetStandard(SPI1, LL_SPI_PROTOCOL_MOTOROLA);
  LL_SPI_DisableNSSPulseMgt(SPI1);

}

static void MX_SPI2_Init(void)
{

  /* SPI2 parameter configuration*/
  hspi2.Instance = SPI2;
  hspi2.Init.Mode = SPI_MODE_MASTER;
  hspi2.Init.Direction = SPI_DIRECTION_2LINES;
  hspi2.Init.DataSize = SPI_DATASIZE_8BIT;
  hspi2.Init.CLKPolarity = SPI_POLARITY_HIGH;
  hspi2.Init.CLKPhase = SPI_PHASE_2EDGE;
  hspi2.Init.NSS = SPI_NSS_SOFT;
  hspi2.Init.BaudRatePrescaler = SPI_BAUDRATEPRESCALER_4;
  hspi2.Init.FirstBit = SPI_FIRSTBIT_MSB;
  hspi2.Init.TIMode = SPI_TIMODE_DISABLE;
  hspi2.Init.CRCCalculation = SPI_CRCCALCULATION_DISABLE;
  hspi2.Init.CRCPolynomial = 7;
  hspi2.Init.CRCLength = SPI_CRC_LENGTH_DATASIZE;
  hspi2.Init.NSSPMode = SPI_NSS_PULSE_DISABLE;
  if (HAL_SPI_Init(&hspi2) != HAL_OK)
  {
    Error_Handler();
  }

}

static void MX_TIM6_Init(void)
{

  TIM_MasterConfigTypeDef sMasterConfig = {0};

  htim6.Instance = TIM6;
  htim6.Init.Prescaler = 143;
  htim6.Init.CounterMode = TIM_COUNTERMODE_UP;
  htim6.Init.Period = 999;
  htim6.Init.AutoReloadPreload = TIM_AUTORELOAD_PRELOAD_DISABLE;
  if (HAL_TIM_Base_Init(&htim6) != HAL_OK)
  {
    Error_Handler();
  }
  sMasterConfig.MasterOutputTrigger = TIM_TRGO_ENABLE;
  sMasterConfig.MasterSlaveMode = TIM_MASTERSLAVEMODE_DISABLE;
  if (HAL_TIMEx_MasterConfigSynchronization(&htim6, &sMasterConfig) != HAL_OK)
  {
    Error_Handler();
  }

}

static void MX_TIM7_Init(void)
{

  /* USER CODE BEGIN TIM7_Init 0 */
  /* Timer 7 will actually be setup in the user code (TIMER7_init); it is
   * because the LIN baudrate */
  /* USER CODE END TIM7_Init 0 */

  LL_TIM_InitTypeDef TIM_InitStruct = {0};

  /* Peripheral clock enable */
  LL_APB1_GRP1_EnableClock(LL_APB1_GRP1_PERIPH_TIM7);

  /* TIM7 interrupt Init */
  NVIC_SetPriority(TIM7_DAC_IRQn, NVIC_EncodePriority(NVIC_GetPriorityGrouping(),0, 0));
  NVIC_EnableIRQ(TIM7_DAC_IRQn);

  TIM_InitStruct.Prescaler = 0;
  TIM_InitStruct.CounterMode = LL_TIM_COUNTERMODE_UP;
  TIM_InitStruct.Autoreload = 65535;
  LL_TIM_Init(TIM7, &TIM_InitStruct);
  LL_TIM_DisableARRPreload(TIM7);
  LL_TIM_SetTriggerOutput(TIM7, LL_TIM_TRGO_RESET);
  LL_TIM_DisableMasterSlaveMode(TIM7);

}

static void MX_USART1_UART_Init(void)
{

  huart1.Instance = USART1;
  huart1.Init.BaudRate = 115200;
  huart1.Init.WordLength = UART_WORDLENGTH_8B;
  huart1.Init.StopBits = UART_STOPBITS_1;
  huart1.Init.Parity = UART_PARITY_NONE;
  huart1.Init.Mode = UART_MODE_TX_RX;
  huart1.Init.HwFlowCtl = UART_HWCONTROL_NONE;
  huart1.Init.OverSampling = UART_OVERSAMPLING_16;
  huart1.Init.OneBitSampling = UART_ONE_BIT_SAMPLE_DISABLE;
  huart1.Init.ClockPrescaler = UART_PRESCALER_DIV1;
  huart1.AdvancedInit.AdvFeatureInit = UART_ADVFEATURE_NO_INIT;
  if (HAL_UART_Init(&huart1) != HAL_OK)
  {
    Error_Handler();
  }
  if (HAL_UARTEx_SetTxFifoThreshold(&huart1, UART_TXFIFO_THRESHOLD_1_8) != HAL_OK)
  {
    Error_Handler();
  }
  if (HAL_UARTEx_SetRxFifoThreshold(&huart1, UART_RXFIFO_THRESHOLD_1_8) != HAL_OK)
  {
    Error_Handler();
  }
  if (HAL_UARTEx_DisableFifoMode(&huart1) != HAL_OK)
  {
    Error_Handler();
  }

}

static void MX_USART2_UART_Init(void)
{

  huart2.Instance = USART2;
  huart2.Init.BaudRate = 115200;
  huart2.Init.WordLength = UART_WORDLENGTH_8B;
  huart2.Init.StopBits = UART_STOPBITS_1;
  huart2.Init.Parity = UART_PARITY_NONE;
  huart2.Init.Mode = UART_MODE_TX_RX;
  huart2.Init.HwFlowCtl = UART_HWCONTROL_NONE;
  huart2.Init.OverSampling = UART_OVERSAMPLING_16;
  huart2.Init.OneBitSampling = UART_ONE_BIT_SAMPLE_DISABLE;
  huart2.Init.ClockPrescaler = UART_PRESCALER_DIV1;
  huart2.AdvancedInit.AdvFeatureInit = UART_ADVFEATURE_NO_INIT;
  if (HAL_UART_Init(&huart2) != HAL_OK)
  {
    Error_Handler();
  }
  if (HAL_UARTEx_SetTxFifoThreshold(&huart2, UART_TXFIFO_THRESHOLD_1_8) != HAL_OK)
  {
    Error_Handler();
  }
  if (HAL_UARTEx_SetRxFifoThreshold(&huart2, UART_RXFIFO_THRESHOLD_1_8) != HAL_OK)
  {
    Error_Handler();
  }
  if (HAL_UARTEx_DisableFifoMode(&huart2) != HAL_OK)
  {
    Error_Handler();
  }

}

static void MX_USART3_UART_Init(void)
{

  LL_USART_InitTypeDef USART_InitStruct = {0};

  LL_GPIO_InitTypeDef GPIO_InitStruct = {0};
  RCC_PeriphCLKInitTypeDef PeriphClkInit = {0};

  /** Initializes the peripherals clocks
  */
  PeriphClkInit.PeriphClockSelection = RCC_PERIPHCLK_USART3;
  PeriphClkInit.Usart3ClockSelection = RCC_USART3CLKSOURCE_PCLK1;
  if (HAL_RCCEx_PeriphCLKConfig(&PeriphClkInit) != HAL_OK)
  {
    Error_Handler();
  }

  /* Peripheral clock enable */
  LL_APB1_GRP1_EnableClock(LL_APB1_GRP1_PERIPH_USART3);

  LL_AHB2_GRP1_EnableClock(LL_AHB2_GRP1_PERIPH_GPIOC);
  /**USART3 GPIO Configuration
  PC10   ------> USART3_TX
  PC11   ------> USART3_RX
  */
  GPIO_InitStruct.Pin = LL_GPIO_PIN_10;
  GPIO_InitStruct.Mode = LL_GPIO_MODE_ALTERNATE;
  GPIO_InitStruct.Speed = LL_GPIO_SPEED_FREQ_MEDIUM;
  GPIO_InitStruct.OutputType = LL_GPIO_OUTPUT_PUSHPULL;
  GPIO_InitStruct.Pull = LL_GPIO_PULL_NO;
  GPIO_InitStruct.Alternate = LL_GPIO_AF_7;
  LL_GPIO_Init(GPIOC, &GPIO_InitStruct);

  GPIO_InitStruct.Pin = LL_GPIO_PIN_11;
  GPIO_InitStruct.Mode = LL_GPIO_MODE_ALTERNATE;
  GPIO_InitStruct.Speed = LL_GPIO_SPEED_FREQ_MEDIUM;
  GPIO_InitStruct.OutputType = LL_GPIO_OUTPUT_PUSHPULL;
  GPIO_InitStruct.Pull = LL_GPIO_PULL_NO;
  GPIO_InitStruct.Alternate = LL_GPIO_AF_7;
  LL_GPIO_Init(GPIOC, &GPIO_InitStruct);

  /* USART3 interrupt Init */
  NVIC_SetPriority(USART3_IRQn, NVIC_EncodePriority(NVIC_GetPriorityGrouping(),0, 0));
  NVIC_EnableIRQ(USART3_IRQn);

  USART_InitStruct.PrescalerValue = LL_USART_PRESCALER_DIV1;
  USART_InitStruct.BaudRate = 19200;
  USART_InitStruct.DataWidth = LL_USART_DATAWIDTH_8B;
  USART_InitStruct.StopBits = LL_USART_STOPBITS_1;
  USART_InitStruct.Parity = LL_USART_PARITY_NONE;
  USART_InitStruct.TransferDirection = LL_USART_DIRECTION_TX_RX;
  USART_InitStruct.OverSampling = LL_USART_OVERSAMPLING_16;
  LL_USART_Init(USART3, &USART_InitStruct);
  LL_USART_SetTXFIFOThreshold(USART3, LL_USART_FIFOTHRESHOLD_1_8);
  LL_USART_SetRXFIFOThreshold(USART3, LL_USART_FIFOTHRESHOLD_1_8);
  LL_USART_DisableFIFO(USART3);
  LL_USART_SetLINBrkDetectionLen(USART3, LL_USART_LINBREAK_DETECT_10B);
  LL_USART_DisableOverrunDetect(USART3);
  LL_USART_DisableDMADeactOnRxErr(USART3);
  LL_USART_ConfigLINMode(USART3);

  LL_USART_Enable(USART3);

  /* Polling USART3 initialisation */
  while((!(LL_USART_IsActiveFlag_TEACK(USART3))) || (!(LL_USART_IsActiveFlag_REACK(USART3))))
  {
  }

}

static void MX_GPIO_Init(void)
{
  GPIO_InitTypeDef GPIO_InitStruct = {0};

  /* GPIO Ports Clock Enable */
  __HAL_RCC_GPIOC_CLK_ENABLE();
  __HAL_RCC_GPIOF_CLK_ENABLE();
  __HAL_RCC_GPIOA_CLK_ENABLE();
  __HAL_RCC_GPIOB_CLK_ENABLE();
  __HAL_RCC_GPIOD_CLK_ENABLE();

  /*Configure GPIO pin Output Level */
  HAL_GPIO_WritePin(GPIOC, LED_USER_R_Pin|LED_USER_G_Pin|LED_CAN1_R_Pin|LED_CAN1_Y_Pin
                          |OUT_3_OD_Pin|OUT_2_PP_Pin|_5V_OUT_EN_Pin|_5V_OUT_FAULT_Pin
                          |LIN_CS_Pin, GPIO_PIN_RESET);

  /*Configure GPIO pin Output Level */
  HAL_GPIO_WritePin(GPIOA, LED_CAN2_R_Pin|LED_CAN2_Y_Pin, GPIO_PIN_RESET);

  /*Configure GPIO pin Output Level */
  HAL_GPIO_WritePin(SPI_MEM_CS_GPIO_Port, SPI_MEM_CS_Pin, GPIO_PIN_SET);

  /*Configure GPIO pin Output Level */
  HAL_GPIO_WritePin(GPIOB, OUT_1_PP_Pin|LIN_WAKE_Pin|LIN_MASTER_Pin, GPIO_PIN_RESET);

  /*Configure GPIO pin Output Level */
  HAL_GPIO_WritePin(CAN2_STB_GPIO_Port, CAN2_STB_Pin, GPIO_PIN_SET);

  /*Configure GPIO pin Output Level */
  HAL_GPIO_WritePin(CAN1_STB_GPIO_Port, CAN1_STB_Pin, GPIO_PIN_SET);

  /*Configure GPIO pins : DIPSW_1_Pin DIPSW_2_Pin */
  GPIO_InitStruct.Pin = DIPSW_1_Pin|DIPSW_2_Pin;
  GPIO_InitStruct.Mode = GPIO_MODE_INPUT;
  GPIO_InitStruct.Pull = GPIO_NOPULL;
  HAL_GPIO_Init(GPIOC, &GPIO_InitStruct);

  /*Configure GPIO pins : LED_USER_R_Pin LED_USER_G_Pin LED_CAN1_R_Pin LED_CAN1_Y_Pin
                           OUT_2_PP_Pin _5V_OUT_EN_Pin _5V_OUT_FAULT_Pin CAN2_STB_Pin
                           LIN_CS_Pin */
  GPIO_InitStruct.Pin = LED_USER_R_Pin|LED_USER_G_Pin|LED_CAN1_R_Pin|LED_CAN1_Y_Pin
                          |OUT_2_PP_Pin|_5V_OUT_EN_Pin|_5V_OUT_FAULT_Pin|CAN2_STB_Pin
                          |LIN_CS_Pin;
  GPIO_InitStruct.Mode = GPIO_MODE_OUTPUT_PP;
  GPIO_InitStruct.Pull = GPIO_NOPULL;
  GPIO_InitStruct.Speed = GPIO_SPEED_FREQ_LOW;
  HAL_GPIO_Init(GPIOC, &GPIO_InitStruct);

  /*Configure GPIO pins : LED_CAN2_R_Pin LED_CAN2_Y_Pin */
  GPIO_InitStruct.Pin = LED_CAN2_R_Pin|LED_CAN2_Y_Pin;
  GPIO_InitStruct.Mode = GPIO_MODE_OUTPUT_PP;
  GPIO_InitStruct.Pull = GPIO_NOPULL;
  GPIO_InitStruct.Speed = GPIO_SPEED_FREQ_LOW;
  HAL_GPIO_Init(GPIOA, &GPIO_InitStruct);

  /*Configure GPIO pin : SPI_MEM_CS_Pin */
  GPIO_InitStruct.Pin = SPI_MEM_CS_Pin;
  GPIO_InitStruct.Mode = GPIO_MODE_OUTPUT_PP;
  GPIO_InitStruct.Pull = GPIO_NOPULL;
  GPIO_InitStruct.Speed = GPIO_SPEED_FREQ_VERY_HIGH;
  HAL_GPIO_Init(SPI_MEM_CS_GPIO_Port, &GPIO_InitStruct);

  /*Configure GPIO pin : OUT_3_OD_Pin */
  GPIO_InitStruct.Pin = OUT_3_OD_Pin;
  GPIO_InitStruct.Mode = GPIO_MODE_OUTPUT_OD;
  GPIO_InitStruct.Pull = GPIO_NOPULL;
  GPIO_InitStruct.Speed = GPIO_SPEED_FREQ_LOW;
  HAL_GPIO_Init(OUT_3_OD_GPIO_Port, &GPIO_InitStruct);

  /*Configure GPIO pins : OUT_1_PP_Pin LIN_WAKE_Pin */
  GPIO_InitStruct.Pin = OUT_1_PP_Pin|LIN_WAKE_Pin;
  GPIO_InitStruct.Mode = GPIO_MODE_OUTPUT_PP;
  GPIO_InitStruct.Pull = GPIO_NOPULL;
  GPIO_InitStruct.Speed = GPIO_SPEED_FREQ_LOW;
  HAL_GPIO_Init(GPIOB, &GPIO_InitStruct);

  /*Configure GPIO pin : SD_DETECT_Pin */
  GPIO_InitStruct.Pin = SD_DETECT_Pin;
  GPIO_InitStruct.Mode = GPIO_MODE_INPUT;
  GPIO_InitStruct.Pull = GPIO_NOPULL;
  HAL_GPIO_Init(SD_DETECT_GPIO_Port, &GPIO_InitStruct);

  /*Configure GPIO pin : CAN1_STB_Pin */
  GPIO_InitStruct.Pin = CAN1_STB_Pin;
  GPIO_InitStruct.Mode = GPIO_MODE_OUTPUT_PP;
  GPIO_InitStruct.Pull = GPIO_NOPULL;
  GPIO_InitStruct.Speed = GPIO_SPEED_FREQ_LOW;
  HAL_GPIO_Init(CAN1_STB_GPIO_Port, &GPIO_InitStruct);

  /*Configure GPIO pin : RESET_USER_Pin */
  GPIO_InitStruct.Pin = RESET_USER_Pin;
  GPIO_InitStruct.Mode = GPIO_MODE_IT_RISING;
  GPIO_InitStruct.Pull = GPIO_NOPULL;
  HAL_GPIO_Init(RESET_USER_GPIO_Port, &GPIO_InitStruct);

  /*Configure GPIO pin : LIN_MASTER_Pin */
  GPIO_InitStruct.Pin = LIN_MASTER_Pin;
  GPIO_InitStruct.Mode = GPIO_MODE_OUTPUT_PP;
  GPIO_InitStruct.Pull = GPIO_PULLUP;
  GPIO_InitStruct.Speed = GPIO_SPEED_FREQ_LOW;
  HAL_GPIO_Init(LIN_MASTER_GPIO_Port, &GPIO_InitStruct);

  /* EXTI interrupt init*/
  HAL_NVIC_SetPriority(EXTI9_5_IRQn, 0, 0);
  HAL_NVIC_EnableIRQ(EXTI9_5_IRQn);

}

/* USER CODE BEGIN 4 */
/*
 * General purpose 1 ms timer callback
 */
void HAL_TIM_PeriodElapsedCallback(TIM_HandleTypeDef *htim)
{
  if (htim == &htim6)
  {
    gTimerCnt++;
    if (gTimerCnt == 10)
    {
      HAL_ADC_Start_IT(&hadc1);
      gTimerCnt = 0;
    }

    /* LIN scheduler timer tick */
    SchedulerTimerCallback();
  }
}

/*
 * ADC conversion complete callback
 */

void HAL_ADC_ConvCpltCallback(ADC_HandleTypeDef *hadc)
{
  double val = HAL_ADC_GetValue(hadc);
  val = (val * ADC_CONVERSION) * DIVIDER;
  val *= 1000; /* To millivolts */
  ADC_ChannelConfTypeDef sConfig = {0};

  sConfig.Rank = ADC_REGULAR_RANK_1;
  sConfig.SamplingTime = ADC_SAMPLETIME_2CYCLES_5;
  sConfig.SingleDiff = ADC_SINGLE_ENDED;
  sConfig.OffsetNumber = ADC_OFFSET_NONE;
  sConfig.Offset = 0;

  switch (adcState)
  {
    case 0:
      adcValues[0] = val;
      sConfig.Channel = ADC_CHANNEL_12;
      adcState++;
      break;

    case 1:
    default:
      adcValues[1] = val;
      sConfig.Channel = ADC_CHANNEL_15;
      adcState = 0;
      break;
  }
  HAL_ADC_ConfigChannel(&hadc1, &sConfig);
  HAL_ADC_Stop_IT(&hadc1);
}

/**
  * @brief  Rx FIFO 0 callback.
  * @param  hfdcan: pointer to an FDCAN_HandleTypeDef structure that contains
  *         the configuration information for the specified FDCAN.
  * @param  RxFifo0ITs: indicates which Rx FIFO 0 interrupts are signalled.
  *         This parameter can be any combination of @arg FDCAN_Rx_Fifo0_Interrupts.
  * @retval None
  */
void HAL_FDCAN_RxFifo0Callback(FDCAN_HandleTypeDef *hfdcan, uint32_t RxFifo0ITs)
{
  if((RxFifo0ITs & FDCAN_IT_RX_FIFO0_NEW_MESSAGE) != RESET)
  {
    /* Retrieve Rx messages from RX FIFO0 */
    if (HAL_FDCAN_GetRxMessage(hfdcan, FDCAN_RX_FIFO0, &RxHeader, RxData) != HAL_OK)
    {
      Error_Handler();
    }
    uint8_t datalen = DatalenToInt(RxHeader.DataLength);

    /* It is strongly suggested to keep the possibility to jump to System Booloader from application */
    if (RxHeader.Identifier == 0x1fffffff && datalen == 4 && RxData[0] == 0 && RxData[1] == 1 && RxData[2] == 2 && RxData[3] == 3)
    {
      /* Cannot go to bootloader directly from ISR */
      BootloaderRequest = 1;
      return;
    }

    /* Send the information about received CAN frame to the virtual COM port */
    char usbSendBuffer[USB_BUFFER_SIZE];
    uint8_t dataWritten = 0;
    dataWritten += snprintf(usbSendBuffer + dataWritten, USB_BUFFER_SIZE, "ID: %lx, ", RxHeader.Identifier);
    char* chan = (hfdcan == &hfdcan2) ? "CAN1" : "CAN2";
    dataWritten += snprintf(usbSendBuffer + dataWritten, USB_BUFFER_SIZE, "channel: %s, ", chan);
    dataWritten += snprintf(usbSendBuffer + dataWritten, USB_BUFFER_SIZE, "datalen: %d, ", datalen);
    dataWritten += snprintf(usbSendBuffer + dataWritten, USB_BUFFER_SIZE, "data: ");
    for (uint8_t i = 0; i < datalen; i++)
    {
      dataWritten += snprintf(usbSendBuffer + dataWritten, USB_BUFFER_SIZE, "%x", RxData[i]);
      if (i != datalen - 1)
        dataWritten += snprintf(usbSendBuffer + dataWritten, USB_BUFFER_SIZE, ", ");
    }
    dataWritten += snprintf(usbSendBuffer + dataWritten, USB_BUFFER_SIZE, "\r\n");
    CDC_Transmit_FS((uint8_t*) usbSendBuffer, dataWritten);

    /* Respond back with the same data and header */
    FDCAN_HandleTypeDef sendCan = (hfdcan == &hfdcan2) ? hfdcan3 : hfdcan2;

    if (HAL_FDCAN_AddMessageToTxFifoQ(&sendCan, (FDCAN_TxHeaderTypeDef*) &RxHeader, RxData) != HAL_OK)
      Error_Handler();

//    /* Display LEDx */
//    if ((RxHeader.Identifier == 0x321) && (RxHeader.IdType == FDCAN_STANDARD_ID) && (RxHeader.DataLength == FDCAN_DLC_BYTES_2))
//    {
//      LED_Display(RxData[0]);
//      ubKeyNumber = RxData[0];
//    }
  }

}

/*
 * Error callback from HAL - reset the peripheral
 */
void HAL_FDCAN_ErrorCallback(FDCAN_HandleTypeDef *hfdcan)
{
  DeviceCANErrorHandler(hfdcan);
}

/*
 * Error callback from HAL - reset the peripheral
 */
void HAL_FDCAN_ErrorStatusCallback(FDCAN_HandleTypeDef *hfdcan, uint32_t ErrorStatusITs)
{
  DeviceCANErrorHandler(hfdcan);
}

/*
 * Initialize the data and header that will be sent to CAN
 */
void initCanTxData(void)
{
  /* Prepare Tx Header */
  TxHeader.Identifier = 0x321;
  TxHeader.IdType = FDCAN_STANDARD_ID;
  TxHeader.TxFrameType = FDCAN_DATA_FRAME;
  TxHeader.DataLength = FDCAN_DLC_BYTES_3;
  TxHeader.ErrorStateIndicator = FDCAN_ESI_ACTIVE;
  TxHeader.BitRateSwitch = FDCAN_BRS_OFF;
  TxHeader.FDFormat = FDCAN_CLASSIC_CAN;
  /* Next two lines would make the frame FD CAN with BRS on */
  /*TxHeader.BitRateSwitch = FDCAN_BRS_ON;
  TxHeader.FDFormat = FDCAN_FD_CAN;*/
  TxHeader.TxEventFifoControl = FDCAN_NO_TX_EVENTS;
  TxHeader.MessageMarker = 0;

  for (uint8_t i = 0; i < CAN_MAX_DATALEN; i++)
    TxData[i] = i;
}

void initAdc(void)
{
  ADC_ChannelConfTypeDef sConfig = {0};
  sConfig.Channel = ADC_CHANNEL_15;
  sConfig.Rank = ADC_REGULAR_RANK_1;
  sConfig.SamplingTime = ADC_SAMPLETIME_2CYCLES_5;
  sConfig.SingleDiff = ADC_SINGLE_ENDED;
  sConfig.OffsetNumber = ADC_OFFSET_NONE;
  sConfig.Offset = 0;
  HAL_ADC_ConfigChannel(&hadc1, &sConfig);
  HAL_ADC_Start_IT(&hadc1);
}

/*
 * Called from interrupt when some data from USB is received
 */
void UsbDataReceived(uint8_t* pBuffer, uint16_t size)
{
  /* Send the received data right back */
  //CDC_Transmit_FS(pBuffer, size);

  /* Send the data to the debug UART */
  HAL_UART_Transmit(&huart2, pBuffer, size, HAL_MAX_DELAY);
}

/**
 * Function to perform jump to system memory boot from user application.
 *
 * Call function when you want to jump to system memory.
 * Inspired by example code from:
 *     https://stm32f4-discovery.net/2017/04/tutorial-jump-system-memory-software-stm32/
 */
void jumpToBootloader(void)
{
    void (*SysMemBootJump)(void);

    __disable_irq();
    /* Reset all configured peripherals */
    HAL_DeInit();
    // deconfigure the usb
    //USBD_DeInit(&hUsbDeviceFS);
    /* System clock frequency 72 MHz - PLL clocked by HSI */
    HAL_RCC_DeInit();

    /* USB must be clocked by HSI48 @ 48 MHz */
    RCC_PeriphCLKInitTypeDef PeriphClkInit = {0};
    PeriphClkInit.PeriphClockSelection = RCC_PERIPHCLK_USB;
    PeriphClkInit.UsbClockSelection = RCC_USBCLKSOURCE_HSI48;
    HAL_RCCEx_PeriphCLKConfig(&PeriphClkInit);

    /**
     * Step: Set system memory address.
     *
     *       For STM32G4, system memory is on 0x1FFF 0000
     */
    volatile uint32_t addr = 0x1FFF0000;

    /**
     * Step: Disable RCC, set it to default (after reset) settings
     *       Internal clock, no PLL, etc.
     */
    HAL_RCC_DeInit();

    /**
     * Step: Disable systick timer and reset it to default values
     */
    SysTick->CTRL = 0;
    SysTick->LOAD = 0;
    SysTick->VAL = 0;

    /* ARM Cortex-M Programming Guide to Memory Barrier Instructions.*/
    __DSB();

    /**
     * Step: Remap system memory to address 0x0000 0000 in address space
     * Call HAL macro to do this
     */
    __HAL_SYSCFG_REMAPMEMORY_SYSTEMFLASH();

    /* Remap is not visible at once. Execute some unrelated command! */
    __DSB();
    __ISB();

    /* Clear Interrupt Enable Register & Interrupt Pending Register */
    for (int i = 0; i < 5; i++)
    {
      NVIC->ICER[i]=0xFFFFFFFF;
      NVIC->ICPR[i]=0xFFFFFFFF;
    }

    SCB->VTOR = 0;                /* Set vector table offset to 0 */

    /* Re-enable all interrupts */
    /* Cannot leave interrupts disabled - no one would enable them */
    __enable_irq();

    /**
     * Step: Set jump memory location for system memory
     *       Use address with 4 bytes offset which specifies jump location where program starts
     */
    SysMemBootJump = (void (*)(void)) (*((uint32_t *)(addr + 4)));

    /**
     * Step: Set main stack pointer.
     *       This step must be done last otherwise local variables in this function
     *       don't have proper value since stack pointer is located on different position
     *
     *       Set direct address location which specifies stack pointer in SRAM location
     */
    __set_MSP(*(__IO uint32_t *)addr);

    /**
     * Step: Actually call our function to jump to set location
     *       This will start system memory execution
     */
    SysMemBootJump();

    /* Now we are in bootloader */
}

/*
 * SPI1 callback for EEPROM access
 */
void SpiInterruptCallback(void)
{
  EepromSpiCallback();
}

/*
 * External interrupt callback - user button was pressed.
 */
void HAL_GPIO_EXTI_Callback(uint16_t GPIO_Pin)
{
  if (GPIO_Pin == GPIO_PIN_8)
  {
    TxData[0] = ++canFramesSent;
    TxData[1] = (!DIPSW1_READ()) & 0x1;
    TxData[2] = (!DIPSW2_READ()) & 0x1;

    /* IN1 */
    TxData[3] = adcValues[0] & 0xff;
    TxData[4] = (adcValues[0] >> 8) & 0xff;
    /* IN2 */
    TxData[5] = adcValues[1] & 0xff;
    TxData[6] = (adcValues[1] >> 8) & 0xff;

    TxHeader.DataLength = FDCAN_DLC_BYTES_7;
    HAL_FDCAN_AddMessageToTxFifoQ(&hfdcan2, (FDCAN_TxHeaderTypeDef*) &TxHeader, TxData);
    HAL_FDCAN_AddMessageToTxFifoQ(&hfdcan3, (FDCAN_TxHeaderTypeDef*) &TxHeader, TxData);
  }
}
/* USER CODE END 4 */

void Error_Handler(void)
{
  /* USER CODE BEGIN Error_Handler_Debug */
  /* User can add his own implementation to report the HAL error return state */
  /* If there is error on one of the used CAN peripherals, reset it */
  uint32_t error1 = HAL_FDCAN_GetError(&hfdcan2);
  uint32_t error2 = HAL_FDCAN_GetError(&hfdcan3);

  if (error1)
    DeviceCANErrorHandler(&hfdcan2);
  if (error2)
    DeviceCANErrorHandler(&hfdcan3);
  /* USER CODE END Error_Handler_Debug */
}
